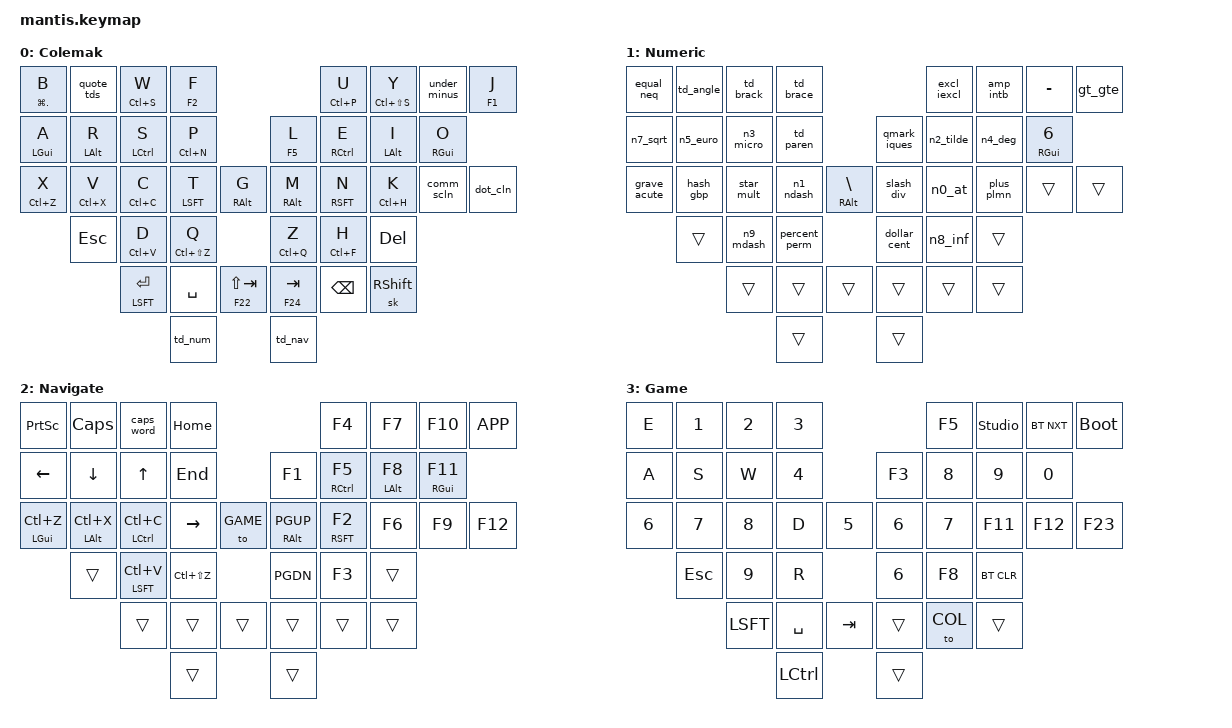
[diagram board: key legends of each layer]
/*
 * Copyright (c) 2024 Joshua Lucas
 *
 * SPDX-License-Identifier: MIT
 */

#define COL 0
#define NUM 1
#define NAV 2
#define GAME 3

#define tap_term_thumb 250
#define tap_term_inner 250
#define tap_term_index 200
#define tap_term_middle 250
#define tap_term_ring 300
#define tap_term_pinky 300
#define tap_term_outer 350

#include <dt-bindings/zmk/keys.h>
#include <behaviors.dtsi>
#include <dt-bindings/zmk/bt.h>

#include "behaviors/combos.dtsi"
#include "behaviors/hold-tap.dtsi"
#include "behaviors/mod-morph.dtsi"
#include "behaviors/tap-dance.dtsi"
#include "macros/macros.dtsi"
#include "macros/unicode.dtsi"

&mt {
	tapping-term-ms = <250>;
};

/ {
	conditional_layers {
		compatible = "zmk,conditional-layers";
		tri_layer {
			if-layers = <NUM NAV>;
			then-layer = <GAME>;
		};
	};

	keymap {
		compatible = "zmk,keymap";

		colemak {
			display-name = "Colemak";
			//	,---------------,---------------,---------------,---------------,									,---------------,---------------,---------------,---------------,
			//	|0	Ins Symbol	|1	   Open		|2	   Save		|3	   Edit		|									|4	  Print		|5	  Save As	|6 Print Screen	|7    Help  	|
			//	|				|				|				|				|									|				|				|				|				|
			//	|		B		|	   ' "		|		W		|		F		|									|		U		|		Y		|	   _ -		|	    J		|
			//	'-------,-------'-------,-------'-------,-------'-------,-------'-------,					,-------'-------,-------'-------,-------'-------,-------'-------,-------'
			//			|8	   LGUI		|9	   LAlt		|10	  LCtrl		|11	   New		|					|12	  Refresh	|13	   RCtrl	|14	   RAlt		|15	   RGUI		|
			//			|				|				|				|				|					|				|				|				|				|
			//			|		A		|		R		|		S		|		P		|					|		L		|		E		|		I		|		O		|
			//	,-------'-------,-------'-------,-------'-------,-------'-------,-------'-------,	,-------'-------,-------'-------,-------'-------,-------'-------,-------'-------,
			//	|16	   Undo		|17	   Cut		|18	   Copy		|19	  LShift	|20	   RAlt		|	|21	   RAlt		|23	  RShift	|24	  Replace	|25	 Select All	|26				|
			//	|				|				|				|				|				|	|				|				|				|				|				|
			//	|		X		|		V		|		C		|		T		|		G		|	|		M		|		N		|		K		|	   , ;		|	   . :		|
			//	'---------------'-------,-------'-------,-------'-------,-------'-------,-------'	'-------,-------'-------,-------'-------,-------'-------,-------'---------------'
			//							|27				|28	  Paste		|29	   Redo		|					|30	   Quit		|31	   Find		|32				|
			//							|	   Esc		|				|				|					|				|				|	  Delete	|
			//							|				|		D		|		Q		|					|		Z		|		H		|				|
			//							'-------,-------'-------,-------'-------,-------'-------,	,-------'-------,-------'-------,-------'-------,-------'
			//									|33	  LShift	|34				|35	   LAlt		|	|36	   RAlt		|37				|38				|
			//									|				|				|				|	|				|				|	OS Shift	|
			//									|	  Return	|	  Space		|	   LTab		|	|	   RTab		|	Backspace	|				|
			//									'---------------'-------,-------'-------,-------'	'-------,-------'-------,-------'---------------'
			//															|39				|					|40				|
			//															|	 Numeric	|					|	 Function	|
			//															|				|					|				|
			//															'---------------'					'---------------'

			bindings = <
					&ht4 LG(DOT) B	&quote_tds		&ht3 LC(S) W	&ht2 F2 F											&ht2 LC(P) U	&ht3 LC(LS(S)) Y &under_minus 	&ht4 F1 J

							&ht4 LGUI A		&ht3 LALT R		&ht2 LCTL S		&ht1 LC(N) P						&ht1 F5 L		&ht2 RCTL E		&ht3 LALT I		&ht4 RGUI O

					&ht4 LC(Z) X	&ht3 LC(X) V	&ht2 LC(C) C	&ht1 LSFT T		&ht1a RALT G		&ht1a RALT M	&ht1 RSFT N		&ht2 LC(H) K	&comm_scln		&dot_cln

											&kp ESC			&ht1 LC(V) D	&ht1a LC(LS(Z)) Q					&ht1a LC(Q) Z	&ht1 LC(F) H	&kp DELETE

													&ht0 LSFT RET	&kp SPACE		&ht0 F22 LS(TAB)	&ht0 F24 TAB	&kp BSPC		&sk RSHIFT

																			&td_num								&td_nav
			>;
		};

		numeric {
			display-name = "Numeric";
			//	,---------------,---------------,---------------,---------------,									,---------------,---------------,---------------,---------------,
			//	|				|				|				|				|									|				|				|				|				|
			//	|		=		|	   < >		|	   [ ]		|	   { }		|									|		!		|	 	&		|	   - _		|	   >		|
			//	|				|				|				|				|									|				|				|				|				|
			//	'-------,-------'-------,-------'-------,-------'-------,-------'-------,					,-------'-------,-------'-------,-------'-------,-------'-------,-------'
			//			|				|				|				|				|					|				|				|				|				|
			//			|		7		|		5		|		3		|	   ( )		|					|		?		|		2		|		4		|		6		|
			//			|				|				|				|				|					|				|				|				|				|
			//	,-------'-------,-------'-------,-------'-------,-------'-------,-------'-------,	,-------'-------,-------'-------,-------'-------,-------'-------,-------'-------,
			//	|				|				|				|				|				|	|				|				|				|				|				|
			//	|		^		|		#		|		*		|		1		|		\		|	|		/		|		0		|		+		|	  trans		|	  trans		|
			//	|				|				|				|				|				|	|				|				|				|				|				|
			//	'---------------'-------,-------'-------,-------'-------,-------'-------,-------'	'-------,-------'-------,-------'-------,-------'-------,-------'---------------'
			//							|				|				|				|					|				|				|				|
			//							|	  trans		|		9		|		%		|					|		$		|		8		|	  trans		|
			//							|				|				|				|					|				|				|				|
			//							'-------,-------'-------,-------'-------,-------'-------,	,-------'-------,-------'-------,-------'-------,-------'
			//									|				|				|				|	|				|				|				|
			//									|	  trans		|	  trans		|	  trans		|	|	  trans		|	  trans		|	  trans		|
			//									|				|				|				|	|				|				|				|
			//									'---------------'-------,-------'-------,-------'	'-------,-------'-------,-------'---------------'
			//															|				|					|				|
			//															|	  trans		|					|	  trans		|
			//															|				|					|				|
			//															'---------------'					'---------------'

			bindings = <
					&equal_neq		&td_angle		&td_brack		&td_brace											&excl_iexcl		&amp_intb		&kp MINUS   &gt_gte

							&n7_sqrt		&n5_euro		&n3_micro		&td_paren							&qmark_iques	&n2_tilde		&n4_deg		&ht4 RGUI N6

					&grave_acute	&hash_gbp		&star_mult		&n1_ndash		&ht1a RALT BSLH		&slash_div		&n0_at			&plus_plmn		&trans		&trans

											&trans			&n9_mdash		&percent_perm						&dollar_cent	&n8_inf			&trans

													&trans			&trans			&trans				&trans			&trans			&trans

																			&trans								&trans
			>;
		};

		navigation {
			display-name = "Navigate";
			//	,---------------,---------------,---------------,---------------,									,---------------,---------------,---------------,---------------,
			//	|				|				|				|				|									|				|				|				|				|
			//	|  Print Screen	|	Caps Lock	|	Caps Word	|	   Home		|									|		F4		|		F7		|	   F10		|	   Menu		|
			//	|				|				|				|				|									|				|				|				|				|
			//	'-------,-------'-------,-------'-------,-------'-------,-------'-------,					,-------'-------,-------'-------,-------'-------,-------'-------,-------'
			//			|				|				|				|				|					|				|				|				|				|
			//			|	  Left		|	   Down		|		Up		|	   End		|					|		F1		|		F5		|		F8		|	   F11		|
			//			|				|				|				|				|					|				|				|				|				|
			//	,-------'-------,-------'-------,-------'-------,-------'-------,-------'-------,	,-------'-------,-------'-------,-------'-------,-------'-------,-------'-------,
			//	|				|				|				|				|				|	|				|				|				|				|				|
			//	|	   Undo		|	   Cut		|	   Copy		|	  Right		|	  Game		|	|	 Page Up	|		F2		|		F6		|		F9		|	   F12		|
			//	|				|				|				|				|				|	|				|				|				|				|				|
			//	'---------------'-------,-------'-------,-------'-------,-------'-------,-------'	'-------,-------'-------,-------'-------,-------'-------,-------'---------------'
			//							|				|				|				|					|				|				|				|
			//							|	  trans		|	  Paste		|	   Redo		|					|	Page Down	|		F3		|	  trans		|
			//							|				|				|				|					|				|				|				|
			//							'-------,-------'-------,-------'-------,-------'-------,	,-------'-------,-------'-------,-------'-------,-------'
			//									|				|				|				|	|				|				|				|
			//									|	  trans		|	  trans		|	  trans		|	|	  trans		|	  trans		|	  trans		|
			//									|				|				|				|	|				|				|				|
			//									'---------------'-------,-------'-------,-------'	'-------,-------'-------,-------'---------------'
			//															|				|					|				|
			//															|	  trans		|					|	  trans		|
			//															|				|					|				|
			//															'---------------'					'---------------'

			bindings = <
					&kp PRINTSCREEN	&kp CAPSLOCK	&caps_word		&kp HOME											&kp F4			&kp F7			&kp F10			&kp K_APP

							&kp LEFT		&kp DOWN		&kp UP			&kp END								&kp F1			&ht2 RCTL F5	&ht3 LALT F8	&ht4 RGUI F11

					&ht4 LGUI LC(Z)	&ht3 LALT LC(X)	&ht2 LCTL LC(C)	&kp RIGHT		&to GAME		&ht1a RALT PGUP 	&ht1 RSFT F2	 &kp F6			&kp F9			&kp F12

											&trans			&ht1 LSFT LC(V)	&kp LC(LS(Z))						&kp PGDN		&kp F3			&trans

													&trans			&trans			&trans				&trans			&trans			&trans

																			&trans								&trans
			>;
		};

		function {
			display-name = "Game";
			//	,---------------,---------------,---------------,---------------,									,---------------,---------------,---------------,---------------,
			//	|				|				|				|				|									|				|				|				|				|
			//	|		E		|		1		|		2		|		3		|									|	   F12		| Studio Unlock	|	 BT Next	|   Bootloader	|
			//	|				|				|				|				|									|				|				|				|				|
			//	'-------,-------'-------,-------'-------,-------'-------,-------'-------,					,-------'-------,-------'-------,-------'-------,-------'-------,-------'
			//			|				|				|				|				|					|				|				|				|				|
			//			|		A		|		S		|		W		|		4		|					|  Scroll Lock	|		8		|		9		|		0		|
			//			|				|				|				|				|					|				|				|				|				|
			//	,-------'-------,-------'-------,-------'-------,-------'-------,-------'-------,	,-------'-------,-------'-------,-------'-------,-------'-------,-------'-------,
			//	|				|				|				|				|				|	|				|				|				|				|				|
			//	|		6		|		7		|		8		|		D		|		5		|	|		F6		|		7		|	   F20		|	   F21		|	   F22	|
			//	|				|				|				|				|				|	|				|				|				|				|				|
			//	'---------------'-------,-------'-------,-------'-------,-------'-------,-------'	'-------,-------'-------,-------'-------,-------'-------,-------'---------------'
			//							|				|				|				|					|				|				|				|
			//							|	 Escape		|		9		|		R		|					|		6		|	   F19		|	  trans		|
			//							|				|				|				|					|				|				|				|
			//							'-------,-------'-------,-------'-------,-------'-------,	,-------'-------,-------'-------,-------'-------,-------'
			//									|				|				|				|	|				|				|				|
			//									|	 LShift		|	  Space		|	   Tab		|	|	  trans		|	 Colemak	|	  trans		|
			//									|				|				|				|	|				|				|				|
			//									'---------------'-------,-------'-------,-------'	'-------,-------'-------,-------'---------------'
			//															|				|					|				|
			//															|	  LCtrl		|					|	  trans		|
			//															|				|					|				|
			//															'---------------'					'---------------'

			bindings = <
					&kp E			&kp N1			&kp N2			&kp N3												&kp F5			&studio_unlock	&bt BT_NXT		&bootloader

							&kp A			&kp S			&kp W			&kp N4								&kp F3			&kp N8			&kp N9			&kp N0

					&kp N6			&kp N7			&kp N8			&kp D			&kp N5				&kp N6			&kp N7			&kp F11			&kp F12			&kp F23

											&kp ESC			&kp N9			&kp R								&kp N6			&kp F8			&bt BT_CLR

													&kp LSFT		&kp SPACE		&kp TAB				&trans			&to COL			&trans

																			&kp LCTL							&trans
			>;
		};

		// Extra layers for ZMK Studio
		extra4 {
			status = "reserved";
		};

		extra5 {
			status = "reserved";
		};

		extra6 {
			status = "reserved";
		};

		extra7 {
			status = "reserved";
		};

		extra8 {
			status = "reserved";
		};

		extra9 {
			status = "reserved";
		};

		extra10 {
			status = "reserved";
		};

		extra11 {
			status = "reserved";
		};

		extra12 {
			status = "reserved";
		};

		extra13 {
			status = "reserved";
		};

		extra14 {
			status = "reserved";
		};

		extra15 {
			status = "reserved";
		};
	};
 };
